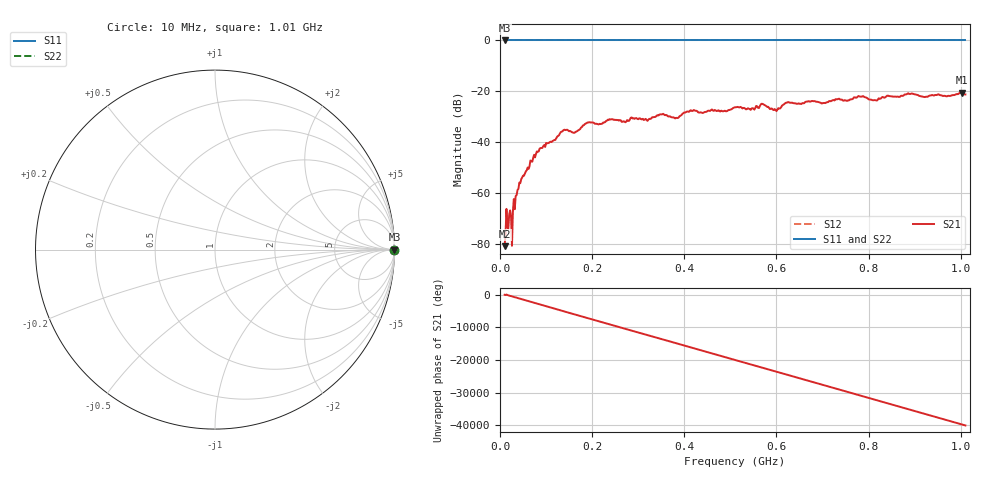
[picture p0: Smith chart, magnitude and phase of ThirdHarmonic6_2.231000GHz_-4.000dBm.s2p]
! 8/17/2025 2:32:17 AM
! C:\ANRITSUVNA\TEMP\TEMP.S2P
! CHANNEL.1
! TR.MEASUREMENT
! RAW.DATA
! RF.CORRECTION.OFF
! AVERAGING.OFF
! IF.BANDWIDTH: 5KHZ
! SWEEPTYPE:  FREQ.SWEEP(Linear)
! Reference Plane Port Info
! PORT:  PORT1  PORT2
! DISTANCE:  0  m  0  m
! TIME:  0  s  0  s
! PHASE.OFFSET:  0  deg.  0  deg.
! LOSS:  0  dB  0  dB
! REF.LOSS:  0  dB  0  dB
! REF.FREQ:  0  Hz  0  Hz
! Power Info
! POWER:  -20  dBm  -20  dBm
! EFF.POWER:  -20  dBm  -20  dBm
! SOURCE.ATTEN:  0  dB  0  dB
! TEST.ATTEN:  0  dB  0  dB
# GHZ S RI R 50.0
! FREQ.GHZ  S11RE  S11IM  S21RE  S21IM  S12RE  S12IM  S22RE  S22IM
!; PortSelection: Port_12
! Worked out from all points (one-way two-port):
!   501 points, 10 MHz to 1.01 GHz, reference 50 ohm
!   highest |S21| = -20.51 dB at 1.002 GHz (marker M1); lowest = -80.7 dB at 10 MHz (marker M2)
!   lowest |S11| = 0.0 dB at 10 MHz (marker M3)
!   |S11| at or under -10 dB: nowhere
!   |S22| runs from 0.0 to 0.0 dB; largest |S21 - S12| = 1.1
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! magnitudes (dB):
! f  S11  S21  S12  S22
! 10 MHz  0.0  -80.7  0.0  0.0
! 18 MHz  0.0  -73.9  0.0  0.0
! 22 MHz  0.0  -66.7  0.0  0.0
! 28 MHz  0.0  -67.0  0.0  0.0
! 34 MHz  0.0  -61.0  0.0  0.0
! 46 MHz  0.0  -54.5  0.0  0.0
! 76 MHz  0.0  -45.9  0.0  0.0
! 136 MHz  0.0  -35.6  0.0  0.0
! 162 MHz  0.0  -36.2  0.0  0.0
! 178 MHz  0.0  -33.9  0.0  0.0
! 344 MHz  0.0  -29.4  0.0  0.0
! 384 MHz  0.0  -30.4  0.0  0.0
! 416 MHz  0.0  -27.6  0.0  0.0
! 510 MHz  0.0  -26.2  0.0  0.0
! 548 MHz  0.0  -26.6  0.0  0.0
! 570 MHz  0.0  -24.9  0.0  0.0
! 598 MHz  0.0  -27.3  0.0  0.0
! 622 MHz  0.0  -24.4  0.0  0.0
! 678 MHz  0.0  -23.7  0.0  0.0
! 844 MHz  0.0  -21.8  0.0  0.0
! 1.002 GHz  0.0  -20.5  0.0  0.0
! 1.01 GHz  0.0  -21.2  0.0  0.0
